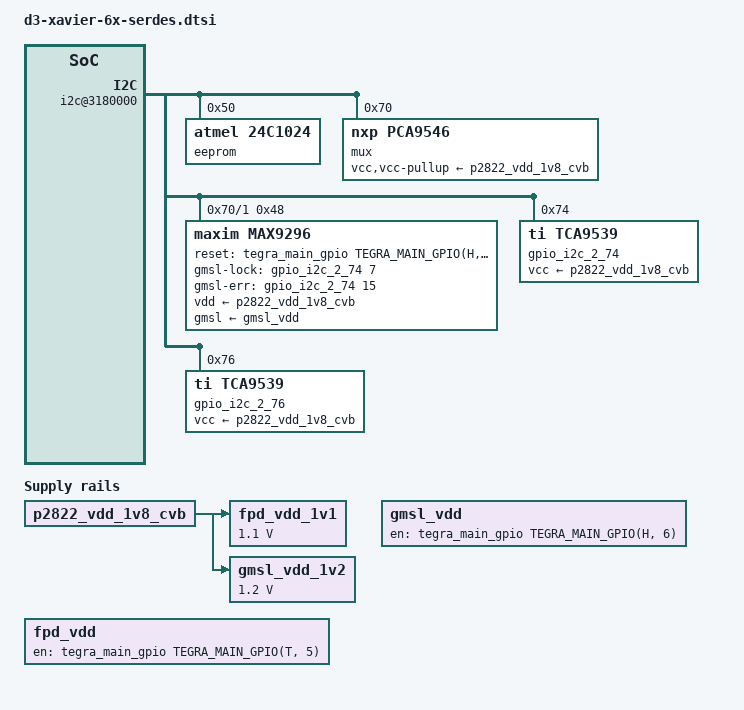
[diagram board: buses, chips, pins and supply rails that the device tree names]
/*
 * Copyright (c) 2018-2021, D3 Engineering.  All rights reserved.
 *
 * This program is free software; you can redistribute it and/or modify
 * it under the terms of the GNU General Public License as published by
 * the Free Software Foundation; version 2 of the License.
 *
 * This program is distributed in the hope that it will be useful, but WITHOUT
 * ANY WARRANTY; without even the implied warranty of MERCHANTABILITY or
 * FITNESS FOR A PARTICULAR PURPOSE.  See the GNU General Public License for
 * more details.
 */
#include "d3-xavier.dtsi"
#define D3_BOARD_XAVIER_CIC
/ {
	/* I2C_CAM, DT alias: i2c2 (clock: C6, data: D6) */
	i2c@3180000 {

		/* Microchip 24AA1026 (U28) */
		eeprom@50 {
			status = "okay";
			compatible = "atmel,24c1024";
			reg = <0x50>;
			pagesize = <128>;

		};

		/* I2C MUX: TCA9546 (U27) */
		mux@70 {
			status = "okay";
			compatible = "nxp,pca9546";
			reg = <0x70>;
			#address-cells = <1>;
			#size-cells = <0>;
			vcc-supply = <&p2822_vdd_1v8_cvb>;
			vcc-pullup-supply = <&p2822_vdd_1v8_cvb>;

			i2c_fpdlink: i2c@0 {
				status = "okay";
				reg = <0>;
				#address-cells = <1>;
				#size-cells = <0>;
				i2c-mux,deselect-on-exit;
			};

			i2c_gmsl: i2c@1 {
				status = "okay";
				reg = <1>;
				#address-cells = <1>;
				#size-cells = <0>;
				i2c-mux,deselect-on-exit;

				/* MAX929 Deserializer (U2) */
				max9296: max9296@48 {
					status = "okay";
					compatible = "maxim,max9296";
					reg = <0x48>;
					#address-cells = <1>;
					#size-cells = <0>;
					vdd-supply = <&p2822_vdd_1v8_cvb>;
					gmsl-supply = <&gmsl_vdd>;
					reset-gpios = <&tegra_main_gpio TEGRA_MAIN_GPIO(H, 3) GPIO_ACTIVE_LOW>;
					gmsl-lock-gpios = <&gpio_i2c_2_74 7 GPIO_ACTIVE_HIGH>;
					gmsl-err-gpios = <&gpio_i2c_2_74 15 GPIO_ACTIVE_HIGH>;
					csi-tx-speed-mbps = <1600>;
					csi-lane-count = <4>;
					csi-continuous-clock = <1>;
					max9296_link0: link@0 {
						status = "okay";
						reg = <0>;
						#address-cells = <1>;
						#size-cells = <0>;
					};

					max9296_link1: link@1 {
						status = "okay";
						reg = <1>;
						#address-cells = <1>;
						#size-cells = <0>;
					};
				};
			};

			/* Bus 2 is not used */
			i2c_exp: i2c@2 {
				status = "okay";
				reg = <2>;
				#address-cells = <1>;
				#size-cells = <0>;
				i2c-mux,deselect-on-exit;
			};

			/* Bus 3 is not used */
			i2c_test: i2c@3 {
				status = "okay";
				reg = <3>;
				#address-cells = <1>;
				#size-cells = <0>;
				i2c-mux,deselect-on-exit;
			};
		};

		/* I2C GPIO expander TCA9539 (U29) */
		gpio_i2c_2_74: gpio@74 {
			status = "okay";
			compatible = "ti,tca9539";
			reg = <0x74>;
			#gpio-cells = <2>;
			gpio-controller;
			vcc-supply = <&p2822_vdd_1v8_cvb>;
			/* interrupt-controller; */
			/* interrupt-parent = <&tegra_aon_gpio>; */
			/* interrupts = <TEGRA_AON_GPIO(AA, 2) IRQ_TYPE_EDGE_BOTH>; */
		};

		/* I2C GPIO expander TCA9539 (U31) */
		gpio_i2c_2_76: gpio@76 {
			status = "okay";
			compatible = "ti,tca9539";
			reg = <0x76>;
			#gpio-cells = <2>;
			gpio-controller;
			vcc-supply = <&p2822_vdd_1v8_cvb>;
			/* interrupt-controller; */
			/* interrupt-parent = <&tegra_aon_gpio>; */
			/* interrupts = <TEGRA_AON_GPIO(AA, 2) IRQ_TYPE_EDGE_BOTH>; */
		};
	};

	fixed-regulators {
		/* 1.1V regulator (U5) */
		fpd_vdd_1v1: regulator@300 {
			status = "okay";
			reg = <0x12c>;
			regulator-name = "fpd-1v1";
			compatible = "regulator-fixed";
			regulator-always-on;
			regulator-min-microvolt = <1100000>;
			regulator-max-microvolt = <1100000>;
			vin-supply = <&p2822_vdd_1v8_cvb>;
		};
		/* 1.2V regulator (U20) */
		gmsl_vdd_1v2: regulator@301 {
			status = "okay";
			reg = <0x12d>;
			regulator-name = "gmsl-1v2";
			compatible = "regulator-fixed";
			regulator-always-on;
			regulator-min-microvolt = <1200000>;
			regulator-max-microvolt = <1200000>;
			vin-supply = <&p2822_vdd_1v8_cvb>;
		};
		/* GMSL regulator (U30) */
		/* Controlled by the Camera Connector Pin 93 */
		gmsl_vdd: regulator@302 {
			status = "okay";
			reg = <0x12e>;
			regulator-name = "gmsl_vdd";
			compatible = "regulator-fixed";
			regulator-always-on;
			gpio = <&tegra_main_gpio TEGRA_MAIN_GPIO(H, 6) GPIO_ACTIVE_LOW>;
			enable-active-high;
		};
		/* FPD-Link regulator (U21) */
		/* Controlled by the Camera Connector Pin 90 */
		fpd_vdd: regulator@303 {
			status = "okay";
			reg = <0x12f>;
			regulator-name = "fpd_vdd";
			compatible = "regulator-fixed";
			regulator-always-on;
			gpio = <&tegra_main_gpio TEGRA_MAIN_GPIO(T, 5) GPIO_ACTIVE_LOW>;
			enable-active-high;
		};
	};

	tegra-camera-platform {
		num_csi_lanes = <8>;
		max_lane_speed = <1500000>;
	};
};


&capture_vi_base {
	num-channels = <6>;
	vi_ports: ports {
		#address-cells = <1>;
		#size-cells = <0>;
	};
};

&csi_base {
	num-channels = <6>;
};

#include "d3-6x-serdes-cam0-3.dtsi"
#include "d3-6x-serdes-cam4-5.dtsi"
